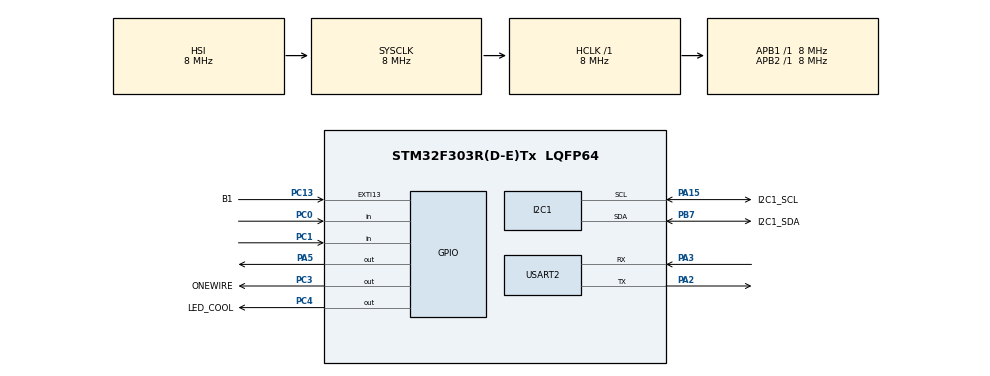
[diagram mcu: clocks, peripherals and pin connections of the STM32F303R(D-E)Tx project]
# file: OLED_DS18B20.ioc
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I2C1.Timing=0x00201D2B
Mcu.Family=STM32F3
Mcu.Name=STM32F303R(D-E)Tx
Mcu.Package=LQFP64
NVIC.EXTI15_10_IRQn=true\:0\:0\:false\:false\:true\:true\:true\:true
NVIC.PriorityGroup=NVIC_PRIORITYGROUP_4
PA13.Mode=Serial_Wire
PA13.Signal=SYS_JTMS-SWDIO
PA14.Mode=Serial_Wire
PA14.Signal=SYS_JTCK-SWCLK
PA15.GPIO_Label=I2C1_SCL
PA15.GPIO_Pu=GPIO_PULLUP
PA15.Mode=I2C
PA15.Signal=I2C1_SCL
PA2.Mode=Asynchronous
PA2.Signal=USART2_TX
PA3.Mode=Asynchronous
PA3.Signal=USART2_RX
PA5.Signal=GPIO_Output
PB7.GPIO_Label=I2C1_SDA
PB7.GPIO_Pu=GPIO_PULLUP
PB7.Mode=I2C
PB7.Signal=I2C1_SDA
PC0.GPIO_PuPd=GPIO_PULLUP
PC0.Signal=GPIO_Input
PC1.GPIO_PuPd=GPIO_PULLUP
PC1.Signal=GPIO_Input
PC13.GPIO_Label=B1
PC13.GPIO_PuPd=GPIO_NOPULL
PC13.Signal=GPXTI13
PC3.GPIO_Label=ONEWIRE
PC3.GPIO_ModeDefaultOutputPP=GPIO_MODE_OUTPUT_OD
PC3.GPIO_PuPd=GPIO_PULLUP
PC3.Signal=GPIO_Output
PC4.GPIO_Label=LED_COOL
PC4.Signal=GPIO_Output
ProjectManager.HeapSize=0x200
ProjectManager.StackSize=0x400
ProjectManager.TargetToolchain=STM32CubeIDE
RCC.AHBFreq_Value=8000000
RCC.APB1Freq_Value=8000000
RCC.APB1TimFreq_Value=8000000
RCC.APB2Freq_Value=8000000
RCC.APB2TimFreq_Value=8000000
RCC.CortexFreq_Value=8000000
RCC.HCLKFreq_Value=8000000
RCC.HSE_VALUE=8000000
RCC.HSI_VALUE=8000000
RCC.LSE_VALUE=32768
RCC.SYSCLKFreq_VALUE=8000000
RCC.USBFreq_Value=8000000
USART2.VirtualMode-Asynchronous=VM_ASYNC
board=custom

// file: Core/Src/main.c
/* USER CODE BEGIN Header */
/**
  ******************************************************************************
  * @file           : main.c
  * @brief          : Main program body
  ******************************************************************************
  * @attention
  * Copyright (c) 2025 STMicroelectronics.
  * All rights reserved.
  * This software is licensed under terms that can be found in the LICENSE file
  * in the root directory of this software component.
  * If no LICENSE file comes with this software, it is provided AS-IS.
  ******************************************************************************
  */
/* USER CODE END Header */
#include "main.h"

/* USER CODE BEGIN Includes */
#include <stdio.h>
#include "onewire.h"
#include "ds18b20.h"
#include "oled/ssd1306.h"
#include "oled/ssd1306_fonts.h"
#include "oled/ssd1306_conf.h"
#include "app_main.h"
/* USER CODE END Includes */

I2C_HandleTypeDef hi2c1;

UART_HandleTypeDef huart2;

void SystemClock_Config(void);
static void MX_GPIO_Init(void);
static void MX_USART2_UART_Init(void);
static void MX_I2C1_Init(void);

/* USER CODE BEGIN 0 */
/* Retarget printf() -> USART2 */
int _write(int file, char *ptr, int len) {
  (void)file;
  HAL_UART_Transmit(&huart2, (uint8_t*)ptr, len, HAL_MAX_DELAY);
  return len;
}
/* USER CODE END 0 */

int main(void)
{

  /* MCU Configuration--------------------------------------------------------*/

  /* Reset of all peripherals, Initializes the Flash interface and the Systick. */
  HAL_Init();

  /* Configure the system clock */
  SystemClock_Config();

  /* USER CODE BEGIN SysInit */
  MySystemClock_Config();
  /* USER CODE END SysInit */

  /* Initialize all configured peripherals */
  MX_GPIO_Init();
  MX_USART2_UART_Init();
  MX_I2C1_Init();
  /* USER CODE BEGIN 2 */
  ssd1306_Init();
  printf("Scanning I2C bus...\r\n");
  for (uint8_t addr = 1; addr < 127; addr++) {
    if (HAL_I2C_IsDeviceReady(&hi2c1, addr << 1, 1, 10) == HAL_OK) {
      printf("Device found at 0x%02X\r\n", addr);
    }
  }

  DWT_Delay_Init();  // mikrosekundowe opóźnienia dla 1-Wire

  /* Zwolnij linię 1-Wire (stan wysoki przez pull-up) */
  HAL_GPIO_WritePin(ONEWIRE_GPIO_Port, ONEWIRE_Pin, GPIO_PIN_SET);

  printf("\r\n=== DS18B20 demo start (UART2=%lu baud) ===\r\n", huart2.Init.BaudRate);

  /* Szybki test obecności czujnika (opcjonalnie) */
  printf("Presence: %s\r\n", ONEWIRE_Reset() ? "OK (czujnik widoczny)" : "BRAK");

  /* USER CODE END 2 */

  /* Infinite loop */
  while (1)
  {
	  App_Main();
  }
}

void SystemClock_Config(void)
{
  RCC_OscInitTypeDef RCC_OscInitStruct = {0};
  RCC_ClkInitTypeDef RCC_ClkInitStruct = {0};
  RCC_PeriphCLKInitTypeDef PeriphClkInit = {0};

  /** Initializes the RCC Oscillators according to the specified parameters
  * in the RCC_OscInitTypeDef structure.
  */
  RCC_OscInitStruct.OscillatorType = RCC_OSCILLATORTYPE_HSI;
  RCC_OscInitStruct.HSIState = RCC_HSI_ON;
  RCC_OscInitStruct.HSICalibrationValue = RCC_HSICALIBRATION_DEFAULT;
  RCC_OscInitStruct.PLL.PLLState = RCC_PLL_NONE;
  if (HAL_RCC_OscConfig(&RCC_OscInitStruct) != HAL_OK)
  {
    Error_Handler();
  }

  /** Initializes the CPU, AHB and APB buses clocks
  */
  RCC_ClkInitStruct.ClockType = RCC_CLOCKTYPE_HCLK|RCC_CLOCKTYPE_SYSCLK
                              |RCC_CLOCKTYPE_PCLK1|RCC_CLOCKTYPE_PCLK2;
  RCC_ClkInitStruct.SYSCLKSource = RCC_SYSCLKSOURCE_HSI;
  RCC_ClkInitStruct.AHBCLKDivider = RCC_SYSCLK_DIV1;
  RCC_ClkInitStruct.APB1CLKDivider = RCC_HCLK_DIV1;
  RCC_ClkInitStruct.APB2CLKDivider = RCC_HCLK_DIV1;

  if (HAL_RCC_ClockConfig(&RCC_ClkInitStruct, FLASH_LATENCY_0) != HAL_OK)
  {
    Error_Handler();
  }
  PeriphClkInit.PeriphClockSelection = RCC_PERIPHCLK_USART2|RCC_PERIPHCLK_I2C1;
  PeriphClkInit.Usart2ClockSelection = RCC_USART2CLKSOURCE_PCLK1;
  PeriphClkInit.I2c1ClockSelection = RCC_I2C1CLKSOURCE_HSI;
  if (HAL_RCCEx_PeriphCLKConfig(&PeriphClkInit) != HAL_OK)
  {
    Error_Handler();
  }
}

static void MX_I2C1_Init(void)
{

  hi2c1.Instance = I2C1;
  hi2c1.Init.Timing = 0x00201D2B;
  hi2c1.Init.OwnAddress1 = 0;
  hi2c1.Init.AddressingMode = I2C_ADDRESSINGMODE_7BIT;
  hi2c1.Init.DualAddressMode = I2C_DUALADDRESS_DISABLE;
  hi2c1.Init.OwnAddress2 = 0;
  hi2c1.Init.OwnAddress2Masks = I2C_OA2_NOMASK;
  hi2c1.Init.GeneralCallMode = I2C_GENERALCALL_DISABLE;
  hi2c1.Init.NoStretchMode = I2C_NOSTRETCH_DISABLE;
  if (HAL_I2C_Init(&hi2c1) != HAL_OK)
  {
    Error_Handler();
  }

  /** Configure Analogue filter
  */
  if (HAL_I2CEx_ConfigAnalogFilter(&hi2c1, I2C_ANALOGFILTER_ENABLE) != HAL_OK)
  {
    Error_Handler();
  }

  /** Configure Digital filter
  */
  if (HAL_I2CEx_ConfigDigitalFilter(&hi2c1, 0) != HAL_OK)
  {
    Error_Handler();
  }

}

static void MX_USART2_UART_Init(void)
{

  huart2.Instance = USART2;
  huart2.Init.BaudRate = 38400;
  huart2.Init.WordLength = UART_WORDLENGTH_8B;
  huart2.Init.StopBits = UART_STOPBITS_1;
  huart2.Init.Parity = UART_PARITY_NONE;
  huart2.Init.Mode = UART_MODE_TX_RX;
  huart2.Init.HwFlowCtl = UART_HWCONTROL_NONE;
  huart2.Init.OverSampling = UART_OVERSAMPLING_16;
  huart2.Init.OneBitSampling = UART_ONE_BIT_SAMPLE_DISABLE;
  huart2.AdvancedInit.AdvFeatureInit = UART_ADVFEATURE_NO_INIT;
  if (HAL_UART_Init(&huart2) != HAL_OK)
  {
    Error_Handler();
  }

}

static void MX_GPIO_Init(void)
{
  GPIO_InitTypeDef GPIO_InitStruct = {0};

  /* GPIO Ports Clock Enable */
  __HAL_RCC_GPIOC_CLK_ENABLE();
  __HAL_RCC_GPIOA_CLK_ENABLE();
  __HAL_RCC_GPIOB_CLK_ENABLE();

  /*Configure GPIO pin Output Level */
  HAL_GPIO_WritePin(GPIOC, ONEWIRE_Pin|LED_COOL_Pin, GPIO_PIN_RESET);

  /*Configure GPIO pin Output Level */
  HAL_GPIO_WritePin(GPIOA, GPIO_PIN_5, GPIO_PIN_RESET);

  /*Configure GPIO pin : B1_Pin */
  GPIO_InitStruct.Pin = B1_Pin;
  GPIO_InitStruct.Mode = GPIO_MODE_IT_RISING;
  GPIO_InitStruct.Pull = GPIO_NOPULL;
  HAL_GPIO_Init(B1_GPIO_Port, &GPIO_InitStruct);

  /*Configure GPIO pins : PC0 PC1 */
  GPIO_InitStruct.Pin = GPIO_PIN_0|GPIO_PIN_1;
  GPIO_InitStruct.Mode = GPIO_MODE_INPUT;
  GPIO_InitStruct.Pull = GPIO_PULLUP;
  HAL_GPIO_Init(GPIOC, &GPIO_InitStruct);

  /*Configure GPIO pin : ONEWIRE_Pin */
  GPIO_InitStruct.Pin = ONEWIRE_Pin;
  GPIO_InitStruct.Mode = GPIO_MODE_OUTPUT_OD;
  GPIO_InitStruct.Pull = GPIO_PULLUP;
  GPIO_InitStruct.Speed = GPIO_SPEED_FREQ_LOW;
  HAL_GPIO_Init(ONEWIRE_GPIO_Port, &GPIO_InitStruct);

  /*Configure GPIO pin : PA5 */
  GPIO_InitStruct.Pin = GPIO_PIN_5;
  GPIO_InitStruct.Mode = GPIO_MODE_OUTPUT_PP;
  GPIO_InitStruct.Pull = GPIO_NOPULL;
  GPIO_InitStruct.Speed = GPIO_SPEED_FREQ_LOW;
  HAL_GPIO_Init(GPIOA, &GPIO_InitStruct);

  /*Configure GPIO pin : LED_COOL_Pin */
  GPIO_InitStruct.Pin = LED_COOL_Pin;
  GPIO_InitStruct.Mode = GPIO_MODE_OUTPUT_PP;
  GPIO_InitStruct.Pull = GPIO_NOPULL;
  GPIO_InitStruct.Speed = GPIO_SPEED_FREQ_LOW;
  HAL_GPIO_Init(LED_COOL_GPIO_Port, &GPIO_InitStruct);

  /* EXTI interrupt init*/
  HAL_NVIC_SetPriority(EXTI15_10_IRQn, 0, 0);
  HAL_NVIC_EnableIRQ(EXTI15_10_IRQn);

}

void Error_Handler(void)
{
  __disable_irq();
  while (1)
  {
  }
}
